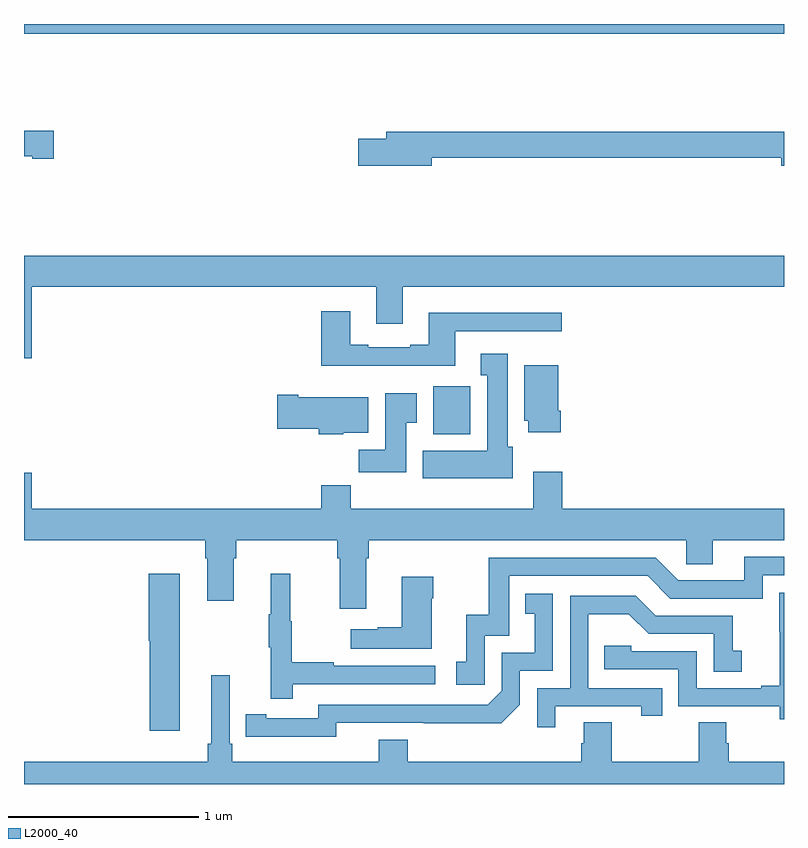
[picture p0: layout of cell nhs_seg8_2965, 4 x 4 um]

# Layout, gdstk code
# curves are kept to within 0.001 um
import gdstk
lib = gdstk.Library(unit=1e-6, precision=1e-09)
def R(c, l, rs):  # rectangles x0, y0, x1, y1
    for r in rs: c.add(gdstk.rectangle(r[:2], r[2:], *l))
def P(c, l, *ps):  # polygons
    for p in ps: c.add(gdstk.Polygon(p, *l))
L2000_40 = (2000, 40)

nhs_seg8_2965 = lib.new_cell('nhs_seg8_2965')
R(nhs_seg8_2965, L2000_40, [(299.153,1099.742,299.349,1099.993), (297,1101.848,301,1101.9)])
P(nhs_seg8_2965, L2000_40, [(297.157,1101.338),(297,1101.338),(297,1101.203),(297.044,1101.203),(297.044,1101.191),(297.157,1101.191)],
  [(299.146,1101.196),(300.986,1101.196),(300.986,1101.154),(301,1101.154),(301,1101.332),(298.907,1101.332),(298.907,1101.296),(298.758,1101.296),(298.758,1101.154),(299.146,1101.154)],
  [(297.04,1100.516),(298.853,1100.516),(298.853,1100.322),(298.993,1100.322),(298.993,1100.516),(301,1100.516),(301,1100.68),(297,1100.68),(297,1100.142),(297.04,1100.142)],
  [(299.269,1100.283),(299.83,1100.283),(299.83,1100.38),(299.129,1100.38),(299.129,1100.212),(299.033,1100.212),(299.033,1100.199),(298.813,1100.199),(298.813,1100.212),(298.717,1100.212),(298.717,1100.389),(298.565,1100.389),(298.565,1100.102),(299.269,1100.102)],
  [(299.572,1099.674),(299.545,1099.674),(299.545,1100.164),(299.405,1100.164),(299.405,1100.051),(299.438,1100.051),(299.438,1099.654),(299.099,1099.654),(299.099,1099.508),(299.572,1099.508)],
  [(299.825,1099.864),(299.812,1099.864),(299.812,1100.104),(299.633,1100.104),(299.633,1099.812),(299.654,1099.812),(299.654,1099.752),(299.825,1099.752)],
  [(299.011,1099.801),(299.068,1099.801),(299.068,1099.957),(298.901,1099.957),(298.901,1099.66),(298.762,1099.66),(298.762,1099.542),(299.011,1099.542)],
  [(298.68,1099.748),(298.813,1099.748),(298.813,1099.936),(298.444,1099.936),(298.444,1099.949),(298.332,1099.949),(298.332,1099.771),(298.55,1099.771),(298.55,1099.742),(298.68,1099.742)],
  [(297.04,1099.537),(297,1099.537),(297,1099.184),(297.953,1099.184),(297.953,1099.088),(297.965,1099.088),(297.965,1098.864),(298.105,1098.864),(298.105,1099.088),(298.118,1099.088),(298.118,1099.184),(298.649,1099.184),(298.649,1099.088),(298.661,1099.088),(298.661,1098.822),(298.801,1098.822),(298.801,1099.088),(298.814,1099.088),(298.814,1099.184),(300.486,1099.184),(300.486,1099.057),(300.625,1099.057),(300.625,1099.184),(301,1099.184),(301,1099.348),(299.834,1099.348),(299.834,1099.543),(299.681,1099.543),(299.681,1099.348),(298.721,1099.348),(298.721,1099.472),(298.565,1099.472),(298.565,1099.348),(297.04,1099.348)],
  [(299.424,1098.681),(299.553,1098.681),(299.553,1098.996),(300.282,1098.996),(300.402,1098.876),(300.888,1098.876),(300.888,1098.999),(301,1098.999),(301,1099.095),(300.791,1099.095),(300.791,1098.972),(300.444,1098.972),(300.324,1099.092),(299.445,1099.092),(299.445,1098.79),(299.327,1098.79),(299.327,1098.543),(299.274,1098.543),(299.274,1098.423),(299.424,1098.423)],
  [(297.82,1099.006),(297.656,1099.006),(297.656,1098.654),(297.662,1098.654),(297.662,1098.18),(297.82,1098.18)],
  [(298.415,1098.426),(299.164,1098.426),(299.164,1098.522),(298.631,1098.522),(298.631,1098.542),(298.408,1098.542),(298.408,1098.756),(298.4,1098.756),(298.4,1099.006),(298.298,1099.006),(298.298,1098.793),(298.287,1098.793),(298.287,1098.619),(298.298,1098.619),(298.298,1098.348),(298.415,1098.348)],
  [(299.146,1098.878),(299.154,1098.878),(299.154,1098.991),(298.988,1098.991),(298.988,1098.725),(298.862,1098.725),(298.862,1098.715),(298.719,1098.715),(298.719,1098.611),(299.146,1098.611)],
  [(301,1098.907),(300.976,1098.907),(300.976,1098.701),(300.977,1098.701),(300.977,1098.418),(300.881,1098.418),(300.881,1098.405),(300.54,1098.405),(300.54,1098.6),(300.195,1098.6),(300.195,1098.627),(300.055,1098.627),(300.055,1098.504),(300.444,1098.504),(300.444,1098.309),(300.978,1098.309),(300.978,1098.241),(301,1098.241)],
  [(298.644,1098.222),(299.512,1098.221),(299.61,1098.318),(299.61,1098.495),(299.784,1098.495),(299.784,1098.901),(299.638,1098.901),(299.638,1098.795),(299.687,1098.795),(299.687,1098.591),(299.514,1098.591),(299.514,1098.39),(299.442,1098.318),(298.548,1098.318),(298.548,1098.246),(298.276,1098.246),(298.276,1098.266),(298.168,1098.266),(298.168,1098.15),(298.644,1098.149)],
  [(299.797,1098.309),(300.248,1098.309),(300.248,1098.258),(300.359,1098.258),(300.359,1098.405),(299.97,1098.405),(299.97,1098.794),(300.184,1098.794),(300.288,1098.69),(300.63,1098.69),(300.63,1098.492),(300.778,1098.492),(300.778,1098.601),(300.729,1098.601),(300.729,1098.786),(300.325,1098.786),(300.22,1098.891),(299.874,1098.891),(299.874,1098.405),(299.7,1098.405),(299.7,1098.198),(299.797,1098.198)],
  [(301,1098.016),(300.71,1098.016),(300.71,1098.114),(300.697,1098.114),(300.697,1098.224),(300.55,1098.224),(300.55,1098.016),(300.093,1098.016),(300.093,1098.224),(299.945,1098.224),(299.945,1098.114),(299.933,1098.114),(299.933,1098.016),(299.021,1098.016),(299.021,1098.133),(298.868,1098.133),(298.868,1098.016),(298.097,1098.016),(298.097,1098.112),(298.083,1098.112),(298.083,1098.472),(297.986,1098.472),(297.986,1098.112),(297.967,1098.112),(297.967,1098.016),(297,1098.016),(297,1097.9),(301,1097.9)])

lib.write_gds('nhs_seg8_2965.gds')
